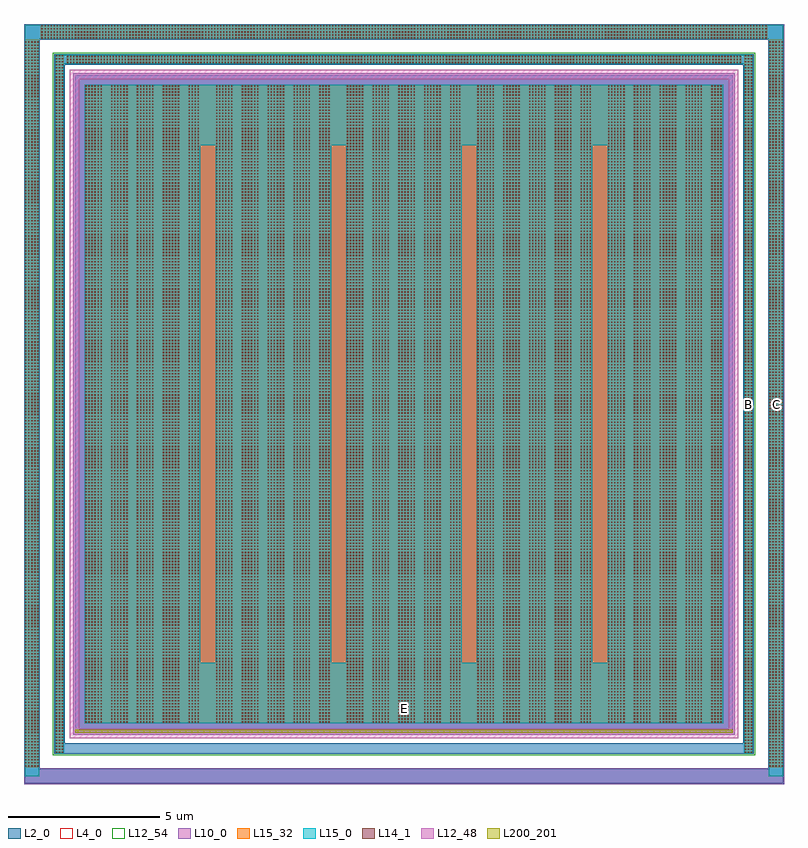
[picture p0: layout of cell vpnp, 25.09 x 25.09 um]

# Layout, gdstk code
import gdstk
lib = gdstk.Library(unit=1e-6, precision=1e-09)
def R(c, l, rs):  # rectangles x0, y0, x1, y1
    for r in rs: c.add(gdstk.rectangle(r[:2], r[2:], *l))
def A(c, l, x, y, w, h, nx, ny, dx, dy):  # array of equal rectangles
    R(c, l, [(x+i*dx, y+j*dy, x+i*dx+w, y+j*dy+h) for i in range(nx) for j in range(ny)])
L2_0 = (2, 0)
L4_0 = (4, 0)
L10_0 = (10, 0)
L12_48 = (12, 48)
L12_54 = (12, 54)
L14_1 = (14, 1)
L15_0 = (15, 0)
L15_32 = (15, 32)
L200_201 = (200, 201)

vpnp = lib.new_cell('vpnp')
R(vpnp, L2_0, [(-19.029,-11.059,6.023,-10.579), (-19.029,-10.579,-18.549,13.513), (5.543,-10.579,6.023,13.513), (-18.049,-10.079,5.043,-9.739), (-18.049,-9.739,-17.709,12.673), (4.703,-9.739,5.043,12.673), (-17.353,-9.383,4.347,12.317), (-18.049,12.673,5.043,13.013), (-19.029,13.513,6.023,13.993)])
R(vpnp, L4_0, [(-18.105,-10.135,5.099,13.069)])
R(vpnp, L10_0, [(-19.05,-11.08,6.044,-10.558), (-19.05,-10.558,-18.528,13.492), (5.522,-10.558,6.044,13.492), (-17.423,-9.453,4.417,12.387), (-19.05,13.492,6.044,14.014)])
R(vpnp, L12_48, [(-17.534,-9.564,4.528,-9.258), (-17.534,-9.258,-17.228,12.192), (4.222,-9.258,4.528,12.192), (-17.534,12.192,4.528,12.498)])
R(vpnp, L12_54, [(-18.105,-10.135,5.099,13.069)])
A(vpnp, L14_1, -19.009, -10.503, 0.04, 0.04, 5, 240, 0.1, 0.1)
A(vpnp, L14_1, 5.563, -10.503, 0.04, 0.04, 5, 240, 0.1, 0.1)
A(vpnp, L14_1, -17.999, -10.053, 0.04, 0.04, 3, 231, 0.1, 0.1)
A(vpnp, L14_1, 4.753, -10.053, 0.04, 0.04, 3, 231, 0.1, 0.1)
A(vpnp, L14_1, -17.023, -9.053, 0.04, 0.04, 6, 211, 0.1, 0.1)
A(vpnp, L14_1, -16.171, -9.053, 0.04, 0.04, 6, 211, 0.1, 0.1)
A(vpnp, L14_1, -15.319, -9.053, 0.04, 0.04, 6, 211, 0.1, 0.1)
A(vpnp, L14_1, -14.467, -9.053, 0.04, 0.04, 6, 211, 0.1, 0.1)
A(vpnp, L14_1, -13.615, -9.053, 0.04, 0.04, 4, 211, 0.1, 0.1)
A(vpnp, L14_1, -12.707, -9.053, 0.04, 0.04, 6, 211, 0.1, 0.1)
A(vpnp, L14_1, -11.855, -9.053, 0.04, 0.04, 6, 211, 0.1, 0.1)
A(vpnp, L14_1, -11.003, -9.053, 0.04, 0.04, 6, 211, 0.1, 0.1)
A(vpnp, L14_1, -10.151, -9.053, 0.04, 0.04, 6, 211, 0.1, 0.1)
A(vpnp, L14_1, -9.299, -9.053, 0.04, 0.04, 4, 211, 0.1, 0.1)
A(vpnp, L14_1, -8.392, -9.053, 0.04, 0.04, 6, 211, 0.1, 0.1)
A(vpnp, L14_1, -7.54, -9.053, 0.04, 0.04, 6, 211, 0.1, 0.1)
A(vpnp, L14_1, -6.688, -9.053, 0.04, 0.04, 6, 211, 0.1, 0.1)
A(vpnp, L14_1, -5.836, -9.053, 0.04, 0.04, 6, 211, 0.1, 0.1)
A(vpnp, L14_1, -4.984, -9.053, 0.04, 0.04, 4, 211, 0.1, 0.1)
A(vpnp, L14_1, -4.077, -9.053, 0.04, 0.04, 6, 211, 0.1, 0.1)
A(vpnp, L14_1, -3.225, -9.053, 0.04, 0.04, 6, 211, 0.1, 0.1)
A(vpnp, L14_1, -2.373, -9.053, 0.04, 0.04, 6, 211, 0.1, 0.1)
A(vpnp, L14_1, -1.521, -9.053, 0.04, 0.04, 6, 211, 0.1, 0.1)
A(vpnp, L14_1, -0.669, -9.053, 0.04, 0.04, 4, 211, 0.1, 0.1)
A(vpnp, L14_1, 0.238, -9.053, 0.04, 0.04, 6, 211, 0.1, 0.1)
A(vpnp, L14_1, 1.09, -9.053, 0.04, 0.04, 6, 211, 0.1, 0.1)
A(vpnp, L14_1, 1.942, -9.053, 0.04, 0.04, 6, 211, 0.1, 0.1)
A(vpnp, L14_1, 2.794, -9.053, 0.04, 0.04, 6, 211, 0.1, 0.1)
A(vpnp, L14_1, 3.646, -9.053, 0.04, 0.04, 4, 211, 0.1, 0.1)
A(vpnp, L14_1, -17.623, 12.723, 0.04, 0.04, 223, 3, 0.1, 0.1)
A(vpnp, L14_1, -18.473, 13.533, 0.04, 0.04, 240, 5, 0.1, 0.1)
A(vpnp, L15_0, -12.725, -7.071, 3.815, 17.076, 4, 1, 4.315, 0)
R(vpnp, L15_0, [(-19.027,-10.819,-18.551,13.991), (5.545,-10.819,6.021,13.991), (-18.017,-10.071,-17.741,13.005), (4.735,-10.071,5.011,13.005), (-17.041,-9.071,4.035,-7.071), (-17.041,-7.071,-13.226,10.005), (-17.041,10.005,4.035,12.005), (-17.741,12.705,4.735,13.005), (-18.551,13.515,5.545,13.991)])
R(vpnp, L15_32, [(-19.027,-10.521,-18.551,13.515), (5.545,-10.521,6.021,13.515), (-18.017,-10.071,-17.741,13.005), (4.735,-10.071,5.011,13.005), (-17.041,-9.071,4.035,12.005), (-17.641,12.705,4.635,12.981), (-18.491,13.515,5.485,13.991)])
R(vpnp, L200_201, [(-17.353,-9.383,4.347,-9.283)])
vpnp.add(gdstk.Label('E', (-6.503,-8.571), layer=15, texttype=20))
vpnp.add(gdstk.Label('B', (4.873,1.467), layer=15, texttype=20))
vpnp.add(gdstk.Label('C', (5.783,1.467), layer=15, texttype=20))

lib.write_gds('vpnp.gds')
